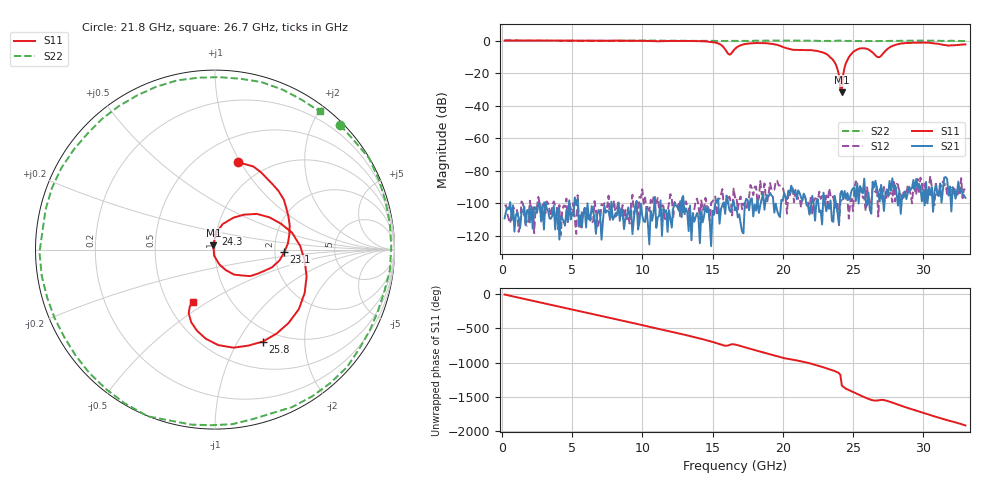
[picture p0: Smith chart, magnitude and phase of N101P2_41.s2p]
# GHZ S RI R 50
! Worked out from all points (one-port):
!   329 points, 200 MHz to 33 GHz, reference 50 ohm
!   lowest |S11| = -31.9 dB at 24.2 GHz (marker M1), VSWR 1.05, Z = 49.1 + j2.33 ohm
!   |S11| at or under -10 dB: 23.35 GHz to 24.72 GHz (1.378 GHz wide, 5.73 % of centre); 26.71 GHz to 26.92 GHz (206.3 MHz wide, 0.769 % of centre)
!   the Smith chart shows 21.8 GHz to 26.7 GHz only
!   S11 on the Smith chart (normalised r, x): 21.8 GHz: 0.75, +0.97; 23.1 GHz: 2.25, -0.08; 24.3 GHz: 0.99, +0.17; 25.8 GHz: 0.83, -1.28; 26.7 GHz: 0.67, -0.44
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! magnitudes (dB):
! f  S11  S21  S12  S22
! 200 MHz  0.0  -109.3  -101.7  0.0
! 5.7 GHz  -0.1  -115.0  -104.8  -0.1
! 11.2 GHz  -0.4  -107.8  -103.5  -0.1
! 15.2 GHz  -1.2  -100.2  -95.9  -0.2
! 16.2 GHz  -8.6  -104.2  -95.9  -0.2
! 16.6 GHz  -5.1  -104.4  -96.5  -0.2
! 18.4 GHz  -1.5  -101.1  -86.4  -0.1
! 21.8 GHz  -6.0  -101.4  -99.0  -0.1
! 22.1 GHz  -6.0  -95.5  -107.2  -0.1
! 23.1 GHz  -8.3  -105.0  -95.3  -0.2
! 23.8 GHz  -15.1  -100.8  -102.1  -0.1
! 24 GHz  -21.3  -113.0  -113.5  0.0
! 24.1 GHz  -29.4  -94.1  -98.9  -0.1
! 24.2 GHz  -31.9  -92.4  -98.1  -0.1
! 24.3 GHz  -21.2  -97.6  -98.9  -0.2
! 24.5 GHz  -13.8  -97.3  -95.1  -0.3
! 24.8 GHz  -9.1  -96.0  -99.0  -0.2
! 25.8 GHz  -4.8  -84.9  -96.2  -0.3
! 26.7 GHz  -10.0  -91.0  -89.9  -0.3
! 27.6 GHz  -4.3  -86.3  -93.8  -0.2
! 29.3 GHz  -1.3  -85.7  -90.0  -0.1
! 33 GHz  -2.4  -96.7  -91.6  -0.3
